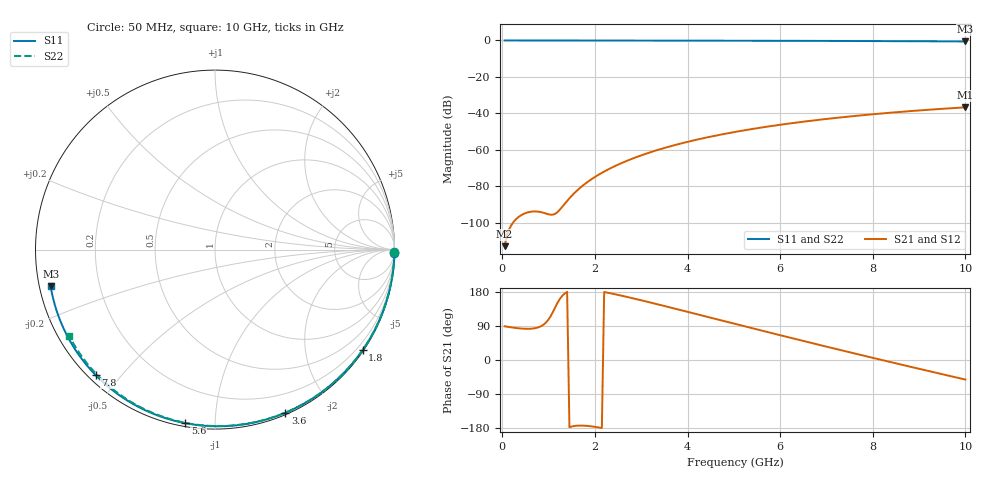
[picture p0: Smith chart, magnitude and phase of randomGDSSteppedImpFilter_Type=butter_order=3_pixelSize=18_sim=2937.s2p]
! freq	dB(S11)	phase(S11)	dB(S12)	phase(S12)
!  dB(S21)	phase(S21)	dB(S22)	phase(S22)
!S-par simulation data
#  GHz  S  DB  R 50
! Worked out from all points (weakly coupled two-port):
!   200 points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, 50 MHz to 10 GHz, reference 50 ohm
!   highest |S21| = -36.73 dB at 10 GHz (marker M1); lowest = -113.0 dB at 50 MHz (marker M2)
!   lowest |S11| = -0.6 dB at 10 GHz (marker M3), VSWR 31.46, Z = 1.61 - j5.53 ohm
!   |S11| at or under -10 dB: nowhere
!   |S22| runs from -0.5 to 0.0 dB; largest |S21 - S12| = 0
!   S11 on the Smith chart (normalised r, x): 50 MHz: open; 1.8 GHz: 0.03, -3.24; 3.6 GHz: 0.02, -1.52; 5.6 GHz: 0.02, -0.84; 7.8 GHz: 0.02, -0.43; 10 GHz: 0.03, -0.11
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0.05  -0.00 -1.0  -112.97 88.9  -112.97 88.9  -0.00 -0.9
0.45  -0.01 -8.7  -95.38 82.7  -95.38 82.7  -0.01 -7.8
0.85  -0.02 -16.4  -94.35 90.1  -94.35 90.1  -0.02 -14.7
1.25  -0.03 -24.0  -92.71 162.5  -92.71 162.5  -0.03 -21.5
1.7  -0.04 -32.5  -80.51 -173.0  -80.51 -173.0  -0.04 -29.0
1.75  -0.04 -33.4  -79.47 -173.2  -79.47 -173.2  -0.04 -29.9
1.8  -0.04 -34.3  -78.49 -173.6  -78.49 -173.6  -0.04 -30.7
2.1  -0.05 -39.9  -73.43 -178.4  -73.43 -178.4  -0.05 -35.7
2.3  -0.06 -43.5  -70.64 177.0  -70.64 177.0  -0.05 -39.0
2.5  -0.06 -47.2  -68.19 171.8  -68.19 171.8  -0.05 -42.3
2.9  -0.07 -54.4  -64.02 160.5  -64.02 160.5  -0.06 -48.8
3.4  -0.08 -63.2  -59.79 145.6  -59.79 145.6  -0.08 -56.7
3.6  -0.09 -66.7  -58.32 139.5  -58.32 139.5  -0.08 -59.9
4.3  -0.11 -78.6  -53.91 117.8  -53.91 117.8  -0.10 -70.7
5.05  -0.14 -90.9  -50.12 94.6  -50.12 94.6  -0.13 -81.9
5.6  -0.16 -99.8  -47.80 77.7  -47.80 77.7  -0.15 -89.8
6.15  -0.19 -108.4  -45.77 60.9  -45.77 60.9  -0.17 -97.6
6.7  -0.23 -116.9  -43.99 44.2  -43.99 44.2  -0.21 -105.3
7.8  -0.31 -133.6  -41.00 11.6  -41.00 11.6  -0.28 -120.2
8.35  -0.36 -141.9  -39.74 -4.5  -39.74 -4.5  -0.33 -127.6
9.2  -0.45 -154.8  -38.06 -29.0  -38.06 -29.0  -0.41 -138.8
10  -0.55 -167.4  -36.73 -51.6  -36.73 -51.6  -0.51 -149.5
